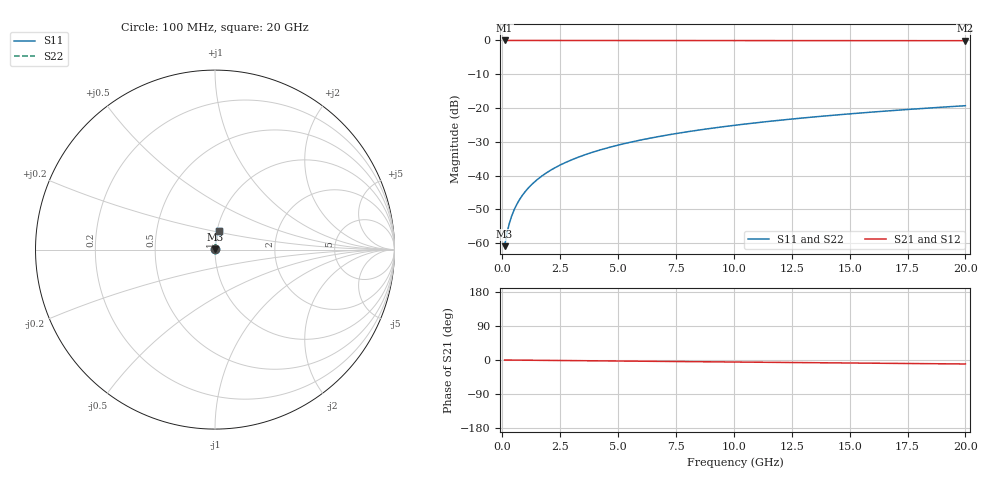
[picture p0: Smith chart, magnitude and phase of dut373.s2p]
! Touchstone file exported from HFSS 2026.1.0
!  File:  C:/ffzhzh/LocalFiles/Ansys_Project_Files/temp_train_TMRDL_373_1783004421_51716.aedt
!  Generated:  11:01:36 PM Jul  2, 2026
!  Design:  TMRDL
!  Project:  temp_train_TMRDL_373_1783004421_51716
! Variables:
!  h_bsmrdl = 2um
!  h_ox = 20um
!  h_rdl = 5um
!  h_sub = 80um
!  h_tmrdl = 5.15um
!  h_tsv = 80um
!  h_via = 3um
!  l_bsmrdl = 300um
!  l_sub = 525.13um
!  l_tmrdl = 125.13um
!  m_sub = 200um
!  pitch = 39.85um
!  r_tsv = 6um
!  s_tmrdl = 10um
!  w_bsmrdl = 18um
!  w_sub = 500um
!  w_tmrdl = 16.17um
!  x_tsv_center1 = 133.215um
!  x_tsv_center2 = 451.215um
!  x_tsv_center3 = 592.515um
!  x_tsv_center4 = 910.515um
!  x_tsv_center5 = 1051.815um
!  x_tsv_center6 = 1369.815um
# GHz S MA R 50.000000
! Terminal data exported
! Port[1] = TM_RDL1_1_T1
! Port[2] = TM_RDL1_1_T2
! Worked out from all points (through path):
!   200 points, 100 MHz to 20 GHz, reference 50 ohm
!   highest |S21| = -0.01 dB at 100 MHz (marker M1); lowest = -0.1 dB at 20 GHz (marker M2)
!   group delay of S21, straight-line fit = 1.46 ps
!   lowest |S11| = -60.9 dB at 100 MHz (marker M3), VSWR 1.00, Z = 50.1 + j0.0616 ohm
!   |S11| at or under -10 dB: start of sweep to end of sweep
!   |S22| runs from -60.9 to -19.3 dB; largest |S21 - S12| = 3.2e-15
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0.1  0.0009033 42.9  0.9993 -0.1  0.9993 -0.1  0.0009033 42.9
! Gamma 0 0 0 0
! Port Impedance 50 0 50 0
0.2  0.001398 60.4  0.9993 -0.1  0.9993 -0.1  0.001398 60.4
0.3  0.001941 68.1  0.9993 -0.2  0.9993 -0.2  0.001941 68.1
0.4  0.002493 72.4  0.9993 -0.2  0.9993 -0.2  0.002493 72.4
0.5  0.003049 75.2  0.9992 -0.3  0.9992 -0.3  0.003049 75.2
0.6  0.003606 77.1  0.9992 -0.3  0.9992 -0.3  0.003606 77.1
0.8  0.004726 79.7  0.9992 -0.4  0.9992 -0.4  0.004726 79.7
1.1  0.006418 81.8  0.9991 -0.6  0.9991 -0.6  0.006418 81.8
1.5  0.008682 83.3  0.9991 -0.8  0.9991 -0.8  0.008682 83.3
1.8  0.01038 83.8  0.999 -1.0  0.999 -1.0  0.01038 83.8
2.1  0.01208 84.2  0.9989 -1.1  0.9989 -1.1  0.01208 84.2
2.7  0.01546 84.5  0.9988 -1.5  0.9988 -1.5  0.01546 84.5
3.5  0.01994 84.6  0.9986 -1.9  0.9986 -1.9  0.01994 84.6
4.2  0.02384 84.4  0.9983 -2.3  0.9983 -2.3  0.02384 84.4
5  0.02825 84.2  0.9981 -2.7  0.9981 -2.7  0.02825 84.2
5.9  0.03318 83.9  0.9977 -3.2  0.9977 -3.2  0.03318 83.9
6.8  0.03808 83.6  0.9974 -3.6  0.9974 -3.6  0.03808 83.6
8.3  0.04619 83.0  0.9968 -4.4  0.9968 -4.4  0.04619 83.0
10.1  0.05587 82.2  0.9961 -5.4  0.9961 -5.4  0.05587 82.2
13.4  0.07348 80.8  0.9946 -7.1  0.9946 -7.1  0.07348 80.8
16.7  0.09093 79.3  0.9928 -8.8  0.9928 -8.8  0.09093 79.3
20  0.1082 77.7  0.9908 -10.5  0.9908 -10.5  0.1082 77.7
